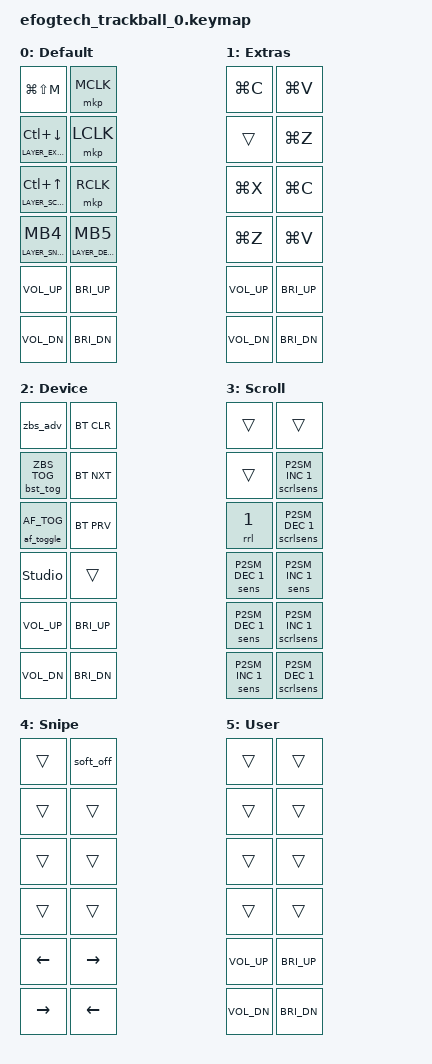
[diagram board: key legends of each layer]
#include <behaviors.dtsi>
#include <dt-bindings/zmk/bt.h>
#include <dt-bindings/zmk/keys.h>
#include <dt-bindings/zmk/pointing.h>
#include <dt-bindings/zmk/outputs.h>
#include <dt-bindings/zmk/adaptive_feedback.h>
#include <dt-bindings/zmk/bistable_behavior.h>
#include <dt-bindings/zmk/p2sm.h>

#ifndef LAYER_DEFAULT
#define LAYER_DEFAULT      0
#define LAYER_EXTRAS       1
#define LAYER_DEVICE       2
#define LAYER_SCROLL       3
#define LAYER_SNIPE        4
#define LAYER_USER         5
#endif

#define TWIST_MULTIPLIER   1
#define TWIST_DIVISOR      20

#define SCROLL_MULTIPLIER  1
#define SCROLL_DIVISOR     40

#define SNIPE_MULTIPLIER   1
#define SNIPE_DIVISOR      4

/ {
	keymap {
		compatible = "zmk,keymap";

		default_layer {
			display-name = "Default";
			DECLARE_ENCODERS;
			bindings = <
				&kp LG(LS(M))                      &mkp MCLK
				&ltmkp LAYER_EXTRAS LC(DOWN)       &mkp LCLK
				&ltmkp LAYER_SCROLL LC(UP_ARROW) 	 &mkp RCLK
				&ltm   LAYER_SNIPE MB4             &ltm LAYER_DEVICE MB5

				// rotary encoders
				&kp C_VOL_UP              &kp C_BRI_UP
				&kp C_VOL_DN              &kp C_BRI_DN
			>;
		};

		layer1 {
			display-name = "Extras";
			DECLARE_ENCODERS;
			bindings = <
				&kp LG(C)   &kp LG(V)
				&trans      &kp LG(Z)
				&kp LG(X)   &kp LG(C)
				&kp LG(Z)   &kp LG(V)

				&kp C_VOL_UP   &kp C_BRI_UP
				&kp C_VOL_DN   &kp C_BRI_DN
			>;
		};

		layer2 {
			display-name = "Device";
			DECLARE_ENCODERS;
			bindings = <
			    &zbs_adv           &bt BT_CLR
			    &bst_tog ZBS_TOG   &bt BT_NXT
			    &af_toggle AF_TOG  &bt BT_PRV
			    &studio_unlock     &trans

				&kp C_VOL_UP       &kp C_BRI_UP
				&kp C_VOL_DN       &kp C_BRI_DN
			>;
		};

		layer3 {
			display-name = "Scroll";
			DECLARE_ENCODERS;
			bindings = <
			    &trans              &trans
			    &trans              &scrlsens P2SM_INC 1
			    &rrl 1              &scrlsens P2SM_DEC 1
			    &sens P2SM_DEC 1    &sens P2SM_INC 1

			    &sens P2SM_DEC 1    &scrlsens P2SM_INC 1
			    &sens P2SM_INC 1    &scrlsens P2SM_DEC 1
		  	>;
		};

		layer4 {
			display-name = "Snipe";
			DECLARE_ENCODERS;
			bindings = <
			    &trans           &soft_off
			    &trans           &trans
			    &trans           &trans
			    &trans           &trans

			    &kp LEFT         &kp RIGHT
			    &kp RIGHT        &kp LEFT
	   		>;
		};

		layer5 {
			display-name = "User";
			DECLARE_ENCODERS;
			bindings = <
				&trans        &trans
				&trans        &trans
				&trans        &trans
				&trans        &trans

				&kp C_VOL_UP  &kp C_BRI_UP
				&kp C_VOL_DN  &kp C_BRI_DN
		    >;
		};
	};

	trackball {
		input-processors = <&zip_scroll_scaler TWIST_MULTIPLIER TWIST_DIVISOR>,
						   <&zip_pointer_accel>, <&zip_scroll_accel>,
						   <&zip_rotate_pointer>, <&zip_rotate_scroll>,
						   <&esb_ip>, <&zip_ble_report_rate_limit>;

		scroll {
			layers = <LAYER_SCROLL>;
			input-processors = <&zip_xy_scaler SCROLL_MULTIPLIER SCROLL_DIVISOR>, <&zip_axis_clamper>,
							   <&zip_xy_to_scroll_mapper>, <&zip_scroll_transform INPUT_TRANSFORM_Y_INVERT>,
							   <&zip_dragscroll_accel>, <&zip_rotate_scroll>,
							   <&esb_ip>, <&zip_ble_report_rate_limit>;
		};

		snipe {
			layers = <LAYER_SNIPE>;
			input-processors = <&zip_xy_scaler SNIPE_MULTIPLIER SNIPE_DIVISOR>,
							   <&zip_rotate_pointer>, <&zip_rotate_scroll>,
							   <&esb_ip>, <&zip_ble_report_rate_limit>;
		};
	};
};
